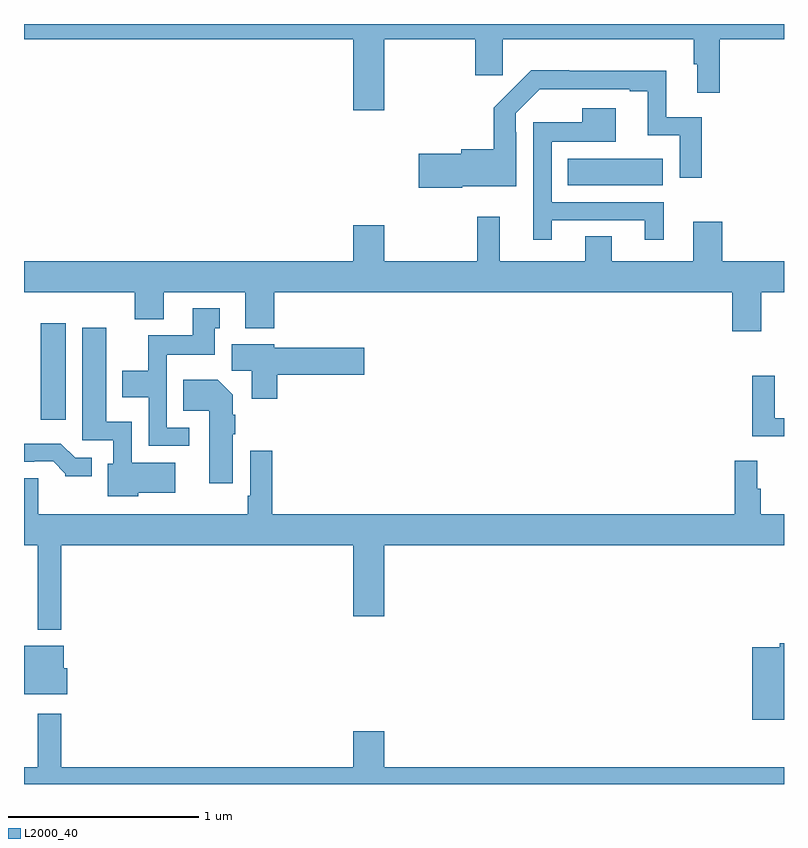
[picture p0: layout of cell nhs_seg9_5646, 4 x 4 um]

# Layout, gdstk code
import gdstk
lib = gdstk.Library(unit=1e-6, precision=1e-09)
def R(c, l, rs):  # rectangles x0, y0, x1, y1
    for r in rs: c.add(gdstk.rectangle(r[:2], r[2:], *l))
def P(c, l, *ps):  # polygons
    for p in ps: c.add(gdstk.Polygon(p, *l))
L2000_40 = (2000, 40)

nhs_seg9_5646 = lib.new_cell('nhs_seg9_5646')
R(nhs_seg9_5646, L2000_40, [(439.088,1194.417,439.219,1194.925), (441.862,1195.652,442.363,1195.792)])
P(nhs_seg9_5646, L2000_40, [(440.896,1196.42),(441.376,1196.42),(441.376,1196.229),(441.521,1196.229),(441.521,1196.42),(442.525,1196.42),(442.525,1196.288),(442.544,1196.288),(442.544,1196.139),(442.661,1196.139),(442.661,1196.42),(443,1196.42),(443,1196.5),(439,1196.5),(439,1196.42),(440.732,1196.42),(440.732,1196.046),(440.896,1196.046)],
  [(441.306,1195.646),(441.591,1195.646),(441.591,1195.931),(441.588,1195.931),(441.588,1196.031),(441.714,1196.157),(442.187,1196.157),(442.187,1196.145),(442.283,1196.145),(442.283,1195.914),(442.452,1195.914),(442.452,1195.692),(442.568,1195.692),(442.568,1196.01),(442.381,1196.01),(442.381,1196.254),(441.869,1196.254),(441.869,1196.257),(441.67,1196.257),(441.473,1196.059),(441.473,1195.84),(441.302,1195.84),(441.302,1195.817),(441.078,1195.817),(441.078,1195.639),(441.306,1195.639)],
  [(441.778,1195.467),(442.268,1195.467),(442.268,1195.365),(442.366,1195.365),(442.366,1195.563),(441.777,1195.563),(441.777,1195.88),(442.114,1195.88),(442.114,1196.056),(441.938,1196.056),(441.938,1195.984),(441.681,1195.984),(441.681,1195.365),(441.778,1195.365)],
  [(442.879,1195.088),(443,1195.088),(443,1195.252),(442.676,1195.252),(442.676,1195.459),(442.523,1195.459),(442.523,1195.252),(442.093,1195.252),(442.093,1195.382),(441.953,1195.382),(441.953,1195.252),(441.503,1195.252),(441.503,1195.486),(441.385,1195.486),(441.385,1195.252),(440.896,1195.252),(440.896,1195.441),(440.732,1195.441),(440.732,1195.252),(439,1195.252),(439,1195.088),(439.583,1195.088),(439.583,1194.947),(439.735,1194.947),(439.735,1195.088),(440.165,1195.088),(440.165,1194.899),(440.318,1194.899),(440.318,1195.088),(442.727,1195.088),(442.727,1194.882),(442.879,1194.882)],
  [(439.87,1194.375),(439.752,1194.375),(439.752,1194.758),(440.005,1194.758),(440.005,1194.9),(440.029,1194.9),(440.029,1195.003),(439.889,1195.003),(439.889,1194.862),(439.654,1194.862),(439.654,1194.676),(439.517,1194.676),(439.517,1194.536),(439.656,1194.536),(439.656,1194.279),(439.87,1194.279)],
  [(439.602,1194.032),(439.795,1194.032),(439.795,1194.19),(439.566,1194.19),(439.566,1194.406),(439.432,1194.406),(439.432,1194.901),(439.307,1194.901),(439.307,1194.309),(439.47,1194.309),(439.47,1194.186),(439.442,1194.186),(439.442,1194.014),(439.602,1194.014)],
  [(440.333,1194.653),(440.791,1194.653),(440.791,1194.795),(440.316,1194.795),(440.316,1194.814),(440.093,1194.814),(440.093,1194.676),(440.198,1194.676),(440.198,1194.528),(440.333,1194.528)],
  [(443,1194.426),(442.95,1194.426),(442.95,1194.649),(442.834,1194.649),(442.834,1194.33),(443,1194.33)],
  [(440.098,1194.34),(440.111,1194.34),(440.111,1194.443),(440.098,1194.443),(440.098,1194.55),(440.02,1194.628),(439.837,1194.628),(439.837,1194.464),(439.976,1194.464),(439.976,1194.084),(440.098,1194.084)],
  [(439.357,1194.216),(439.269,1194.216),(439.193,1194.292),(439,1194.292),(439,1194.195),(439.055,1194.195),(439.055,1194.198),(439.154,1194.198),(439.218,1194.134),(439.218,1194.119),(439.357,1194.119)],
  [(439.195,1193.756),(440.732,1193.756),(440.732,1193.382),(440.896,1193.382),(440.896,1193.756),(443,1193.756),(443,1193.92),(442.877,1193.92),(442.877,1194.053),(442.858,1194.053),(442.858,1194.202),(442.741,1194.202),(442.741,1193.92),(440.306,1193.92),(440.306,1194.253),(440.19,1194.253),(440.19,1194.016),(440.178,1194.016),(440.178,1193.92),(439.075,1193.92),(439.075,1194.11),(439,1194.11),(439,1193.756),(439.073,1193.756),(439.073,1193.312),(439.195,1193.312)],
  [(443,1193.24),(442.978,1193.24),(442.978,1193.22),(442.832,1193.22),(442.832,1192.839),(443,1192.839)],
  [(439.228,1193.109),(439.21,1193.109),(439.21,1193.227),(439,1193.227),(439,1192.973),(439.228,1192.973)],
  [(443,1192.588),(440.896,1192.588),(440.896,1192.777),(440.732,1192.777),(440.732,1192.588),(439.195,1192.588),(439.195,1192.87),(439.073,1192.87),(439.073,1192.588),(439,1192.588),(439,1192.5),(443,1192.5)])

lib.write_gds('nhs_seg9_5646.gds')
